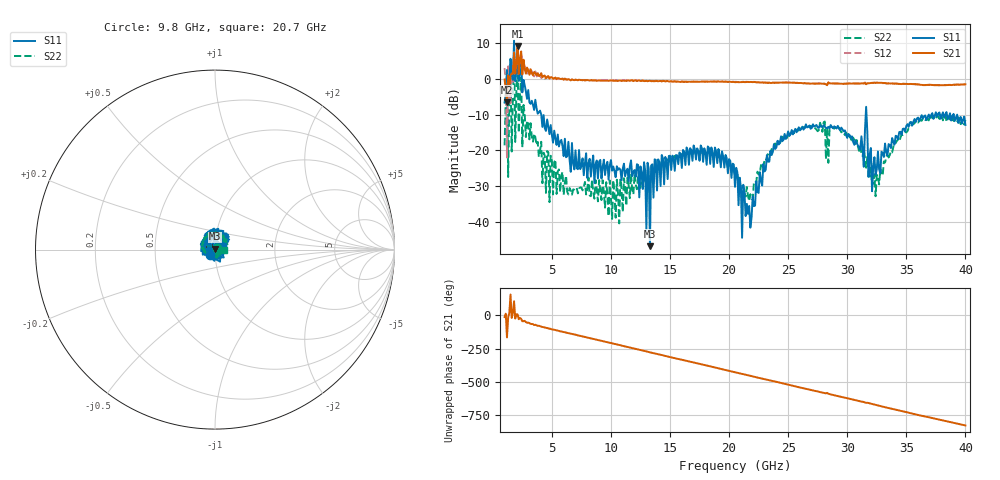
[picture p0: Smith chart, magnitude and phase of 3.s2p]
!Keysight Technologies,N5224A,MY55441802,A.10.65.16
!Date: Wednesday, May 13, 2026 19:15:10
!Correction: S11(Full 2 Port(1,2))
!S21(Full 2 Port(1,2))
!S12(Full 2 Port(1,2))
!S22(Full 2 Port(1,2))
!S2P File: Measurements: S11, S21, S12, S22:
# Hz S  dB  R 50
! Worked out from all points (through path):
!   391 points, 1 GHz to 40 GHz, reference 50 ohm
!   highest |S21| = 9.13 dB at 2.1 GHz (marker M1); lowest = -6.5 dB at 1.2 GHz (marker M2)
!   lowest |S11| = -46.7 dB at 13.3 GHz (marker M3), VSWR 1.01, Z = 50 + j0.462 ohm
!   |S11| at or under -10 dB: 4.101 GHz to 31.57 GHz (27.47 GHz wide, 154 % of centre); 31.63 GHz to 36.9 GHz (5.269 GHz wide, 15.4 % of centre); 39.01 GHz to end of sweep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
!   |S22| runs from -40.3 to 7.1 dB; largest |S21 - S12| = 0.72
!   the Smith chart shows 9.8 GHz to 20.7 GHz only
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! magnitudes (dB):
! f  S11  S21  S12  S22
! 1 GHz  -6.6  -0.2  3.0  -18.6
! 1.2 GHz  2.4  -6.5  -22.0  1.6
! 1.3 GHz  -2.0  0.9  3.5  -27.4
! 1.5 GHz  5.6  0.9  -6.8  4.0
! 1.6 GHz  0.7  1.5  3.9  -20.3
! 1.8 GHz  10.7  7.3  4.5  7.1
! 1.9 GHz  -0.7  1.4  2.9  -17.6
! 2.1 GHz  8.8  9.1  8.1  4.0
! 2.2 GHz  -0.6  1.3  2.6  -15.1
! 2.4 GHz  6.3  7.6  7.2  0.3
! 4.8 GHz  -15.5  0.0  0.5  -34.4
! 7.5 GHz  -24.3  -0.4  -0.3  -30.3
! 12.8 GHz  -23.3  -0.7  -0.6  -28.7
! 13 GHz  -42.2  -0.6  -0.6  -28.6
! 13.1 GHz  -23.4  -0.7  -0.6  -27.8
! 13.3 GHz  -46.7  -0.6  -0.6  -27.9
! 13.4 GHz  -24.2  -0.7  -0.6  -26.9
! 14 GHz  -22.5  -0.7  -0.7  -24.9
! 20.5 GHz  -30.1  -1.0  -0.9  -27.9
! 27 GHz  -13.7  -1.3  -1.3  -13.5
! 33.5 GHz  -18.2  -1.3  -1.3  -22.0
! 40 GHz  -12.9  -1.6  -1.6  -11.5
